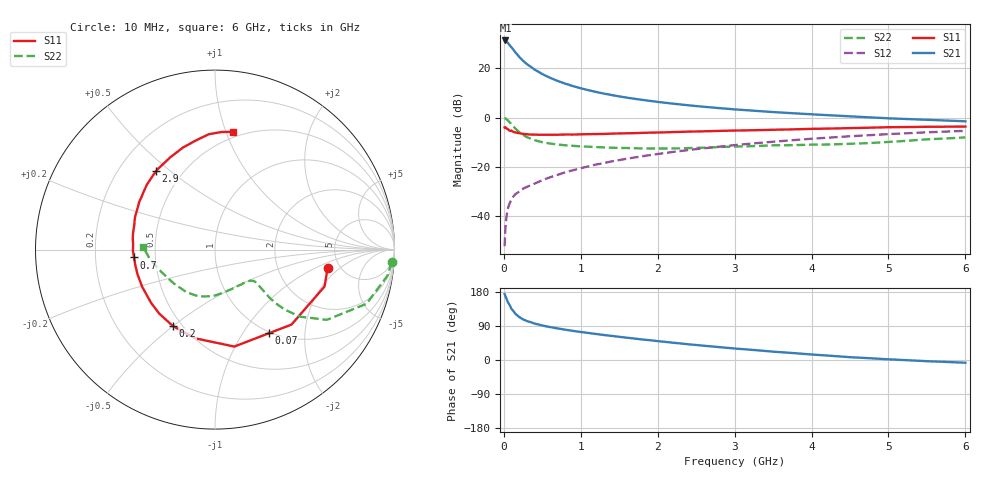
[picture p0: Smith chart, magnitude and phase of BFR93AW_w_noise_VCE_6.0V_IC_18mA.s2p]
! Infineon Technologies  Discrete & RF Semiconductors
! BFR93AW
! VCE =  6.0 V,  IC =  18 mA
! Common Emitter S-Parameters:  Jan 2017
# GHz  S  MA  R  50
!  f  S11  S21  S12  S22
! GHz  MAG  ANG  MAG  ANG  MAG  ANG  MAG  ANG
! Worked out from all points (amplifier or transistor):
!   77 points, 10 MHz to 6 GHz, reference 50 ohm
!   highest |S21| = 31.3 dB at 20 MHz (marker M1)
!   |S21| within 3 dB of that: start of sweep to 105.2 MHz
!   unconditionally stable (mu >= 1): 690.2 MHz to 2.069 GHz
!   at 130 MHz: K = 0.41, MSG = 29.5 dB, |S12| = -31.7 dB
!   at 2.2 GHz: K = 0.99, MSG = 9.8 dB, |S12| = -13.9 dB
!   at 6 GHz: K = 0.87, MSG = 1.9 dB, |S12| = -5.3 dB
!   lowest NFmin = 1.47 dB at 450 MHz
!   S11 on the Smith chart (normalised r, x): 10 MHz: 3.98, -1.39; 70 MHz: 0.98, -1.32; 200 MHz: 0.45, -0.50; 700 MHz: 0.38, -0.04; 2.9 GHz: 0.36, +0.45; 6 GHz: 0.45, +1.06
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0.01  0.6357 -9.4  36.81 174.0  0.0025 82.4  0.9864 -4.1
0.02  0.644 -18.6  36.88 168.7  0.0057 81.0  0.973 -8.5
0.05  0.5969 -44.4  33.39 153.5  0.0141 72.8  0.8962 -19.7
0.07  0.5542 -57.3  30.34 146.9  0.0174 67.1  0.8277 -24.1
0.1  0.5508 -78.7  26.74 134.4  0.0226 61.7  0.7362 -32.1
0.15  0.5064 -102.5  21.17 121.9  0.0283 57.5  0.6031 -38.3
0.2  0.4862 -118.9  17.16 113.5  0.0319 56.1  0.5122 -40.7
0.25  0.4728 -131.2  14.34 107.2  0.0366 56.1  0.4499 -41.5
0.3  0.4637 -140.1  12.21 102.8  0.0397 57.2  0.4049 -41.4
0.4  0.4557 -152.9  9.459 96.0  0.0463 59.6  0.352 -40.3
0.5  0.4532 -162.0  7.671 91.0  0.0542 61.7  0.32 -39.5
0.6  0.4525 -168.9  6.464 86.9  0.0622 63.1  0.3001 -38.9
0.7  0.4532 -174.5  5.568 83.3  0.0697 65.2  0.2867 -38.8
0.9  0.4569 176.4  4.371 76.8  0.0866 66.7  0.2698 -40.1
1.1  0.4656 169.0  3.623 71.3  0.1037 67.6  0.2591 -42.3
1.5  0.4816 157.5  2.71 61.2  0.1389 67.1  0.2448 -50.2
2.1  0.5073 142.7  2.012 47.8  0.1936 64.3  0.2385 -67.5
2.9  0.546 126.9  1.524 32.2  0.2691 58.2  0.2579 -92.5
3.1  0.5539 123.1  1.443 28.8  0.2883 56.4  0.263 -98.3
4.1  0.5992 106.0  1.153 13.2  0.3845 46.6  0.2858 -127.2
5.1  0.6456 91.8  0.961 0.9  0.4742 35.4  0.3307 -160.5
6  0.6641 81.1  0.848 -7.2  0.5441 25.1  0.4004 177.8
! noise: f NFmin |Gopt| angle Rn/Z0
0.45  1.47  0.13  155  0.14
0.9  1.74  0.23  172  0.15
1.9  2.74  0.47  -140  0.22
2.4  3.36  0.54  -127  0.43
